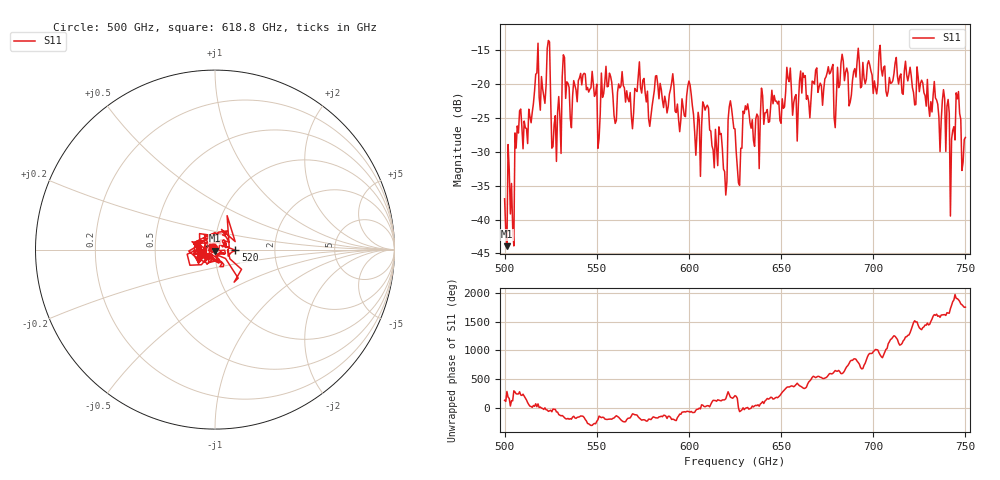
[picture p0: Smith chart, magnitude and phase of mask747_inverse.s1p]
!Created with skrf (http://scikit-rf.org).
# GHz S MA R 50.0
!freq magS11 angS11
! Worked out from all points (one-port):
!   401 points, 500 GHz to 750 GHz, reference 50 ohm
!   lowest |S11| = -43.9 dB at 501.2 GHz (marker M1), VSWR 1.01, Z = 50.2 - j0.614 ohm
!   |S11| at or under -10 dB: start of sweep to end of sweep
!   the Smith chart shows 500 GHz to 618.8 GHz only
!   S11 on the Smith chart (normalised r, x): 500 GHz: 0.98, +0.02; 520 GHz: 1.26, -0.01; 618.8 GHz: 0.96, +0.03
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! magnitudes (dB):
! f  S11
! 500 GHz  -36.9
! 501.2 GHz  -43.9
! 503.8 GHz  -34.7
! 508.1 GHz  -23.9
! 520 GHz  -18.9
! 523.8 GHz  -13.5
! 526.9 GHz  -26.0
! 531.2 GHz  -18.9
! 542.5 GHz  -18.6
! 550.6 GHz  -29.5
! 562.5 GHz  -20.6
! 593.8 GHz  -22.9
! 600 GHz  -19.5
! 605 GHz  -24.2
! 608.8 GHz  -23.8
! 618.8 GHz  -32.5
! 622.5 GHz  -22.5
! 625 GHz  -26.6
! 627.5 GHz  -34.9
! 630.6 GHz  -23.2
! 636.9 GHz  -24.4
! 656.2 GHz  -24.6
! 687.5 GHz  -22.7
! 718.8 GHz  -19.5
! 739.4 GHz  -29.9
! 743.1 GHz  -26.8
! 746.2 GHz  -21.1
! 750 GHz  -27.9
